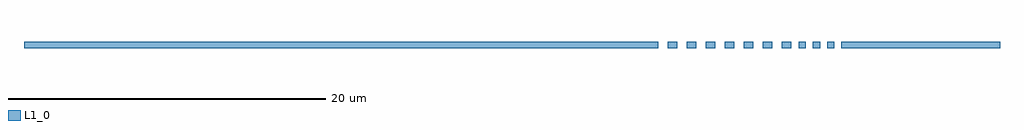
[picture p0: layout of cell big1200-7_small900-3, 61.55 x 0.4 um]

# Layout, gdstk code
import gdstk
lib = gdstk.Library(unit=1e-6, precision=1e-09)
def R(c, l, rs):  # rectangles x0, y0, x1, y1
    for r in rs: c.add(gdstk.rectangle(r[:2], r[2:], *l))
def A(c, l, x, y, w, h, nx, ny, dx, dy):  # array of equal rectangles
    R(c, l, [(x+i*dx, y+j*dy, x+i*dx+w, y+j*dy+h) for i in range(nx) for j in range(ny)])
L1_0 = (1, 0)

big1200_7_small900_3 = lib.new_cell('big1200-7_small900-3')
A(big1200_7_small900_3, L1_0, 0.6, 0, 0.6, 0.4, 7, 1, 1.2, 0)
A(big1200_7_small900_3, L1_0, 8.85, 0, 0.45, 0.4, 3, 1, 0.9, 0)
R(big1200_7_small900_3, L1_0, [(-40,0,0,0.4), (11.55,0,21.55,0.4)])

lib.write_gds('big1200-7_small900-3.gds')
